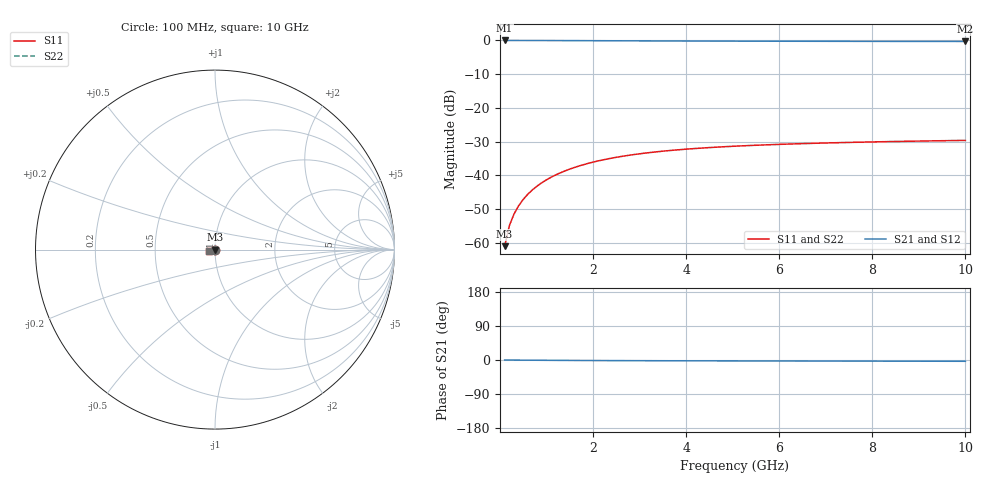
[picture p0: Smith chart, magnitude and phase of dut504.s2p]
! Touchstone file exported from HFSS 2024.1.0
!  File:  C:/UserFiles/LocalFiles/RDL_TSV_Batchsim/temp_TSV1_504_1779702072.aedt
!  Generated:  05:46:02 PM May 25, 2026
!  Design:  TSV1
!  Project:  temp_TSV1_504_1779702072
!  Setup:  Setup1
!  Solution:  Sweep
! Variables:
!  dtsv = 11.21um
!  hbump = 3um
!  htsv = 50.08um
!  lrdl = 252.1521522um
!  p = 40
!  p1 = 44.86um
!  t = 500um
!  trdl = 3um
!  wrdl = 24.89489489um
# GHz S MA R 50.000000
! Terminal data exported
! Port[1] = TSV22_T1
! Port[2] = TSV22_T2
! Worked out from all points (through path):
!   100 points, 100 MHz to 10 GHz, reference 50 ohm
!   highest |S21| = 0.00 dB at 100 MHz (marker M1); lowest = -0.3 dB at 10 GHz (marker M2)
!   lowest |S11| = -61.0 dB at 100 MHz (marker M3), VSWR 1.00, Z = 50 - j0.089 ohm
!   |S11| at or under -10 dB: start of sweep to end of sweep
!   |S22| runs from -61.0 to -29.6 dB; largest |S21 - S12| = 3e-15
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0.1  0.0008921 -85.9  0.9999 -0.1  0.9999 -0.1  0.0008921 -85.9
! Gamma 0 0 0 0
! Port Impedance 50 0 50 0
0.2  0.001776 -90.4  0.9998 -0.2  0.9998 -0.2  0.001776 -90.4
0.3  0.002657 -93.0  0.9997 -0.2  0.9997 -0.2  0.002657 -93.0
0.4  0.003534 -95.2  0.9995 -0.3  0.9995 -0.3  0.003534 -95.2
0.5  0.004403 -97.1  0.9992 -0.4  0.9992 -0.4  0.004403 -97.1
0.6  0.005264 -98.9  0.9989 -0.5  0.9989 -0.5  0.005264 -98.9
0.7  0.006115 -100.6  0.9986 -0.6  0.9986 -0.6  0.006115 -100.6
0.8  0.006954 -102.3  0.9982 -0.6  0.9982 -0.6  0.006954 -102.3
0.9  0.007779 -103.9  0.9978 -0.7  0.9978 -0.7  0.007779 -103.9
1.1  0.009386 -107.1  0.9969 -0.9  0.9969 -0.9  0.009386 -107.1
1.4  0.01167 -111.6  0.9953 -1.1  0.9953 -1.1  0.01167 -111.6
1.6  0.01309 -114.5  0.9942 -1.2  0.9942 -1.2  0.01309 -114.5
1.8  0.01444 -117.2  0.993 -1.3  0.993 -1.3  0.01444 -117.2
2.1  0.01631 -121.1  0.9912 -1.4  0.9912 -1.4  0.01631 -121.1
2.5  0.01852 -125.8  0.9888 -1.6  0.9888 -1.6  0.01852 -125.8
2.9  0.02044 -130.2  0.9865 -1.8  0.9865 -1.8  0.02044 -130.2
3.4  0.02247 -135.0  0.9838 -2.0  0.9838 -2.0  0.02247 -135.0
4.2  0.02503 -141.6  0.9801 -2.2  0.9801 -2.2  0.02503 -141.6
5.1  0.02718 -147.6  0.9766 -2.4  0.9766 -2.4  0.02718 -147.6
6.7  0.02982 -156.1  0.9721 -2.7  0.9721 -2.7  0.02982 -156.1
8.4  0.0317 -163.0  0.9689 -3.1  0.9689 -3.1  0.0317 -163.0
10  0.033 -168.6  0.9667 -3.4  0.9667 -3.4  0.033 -168.6
